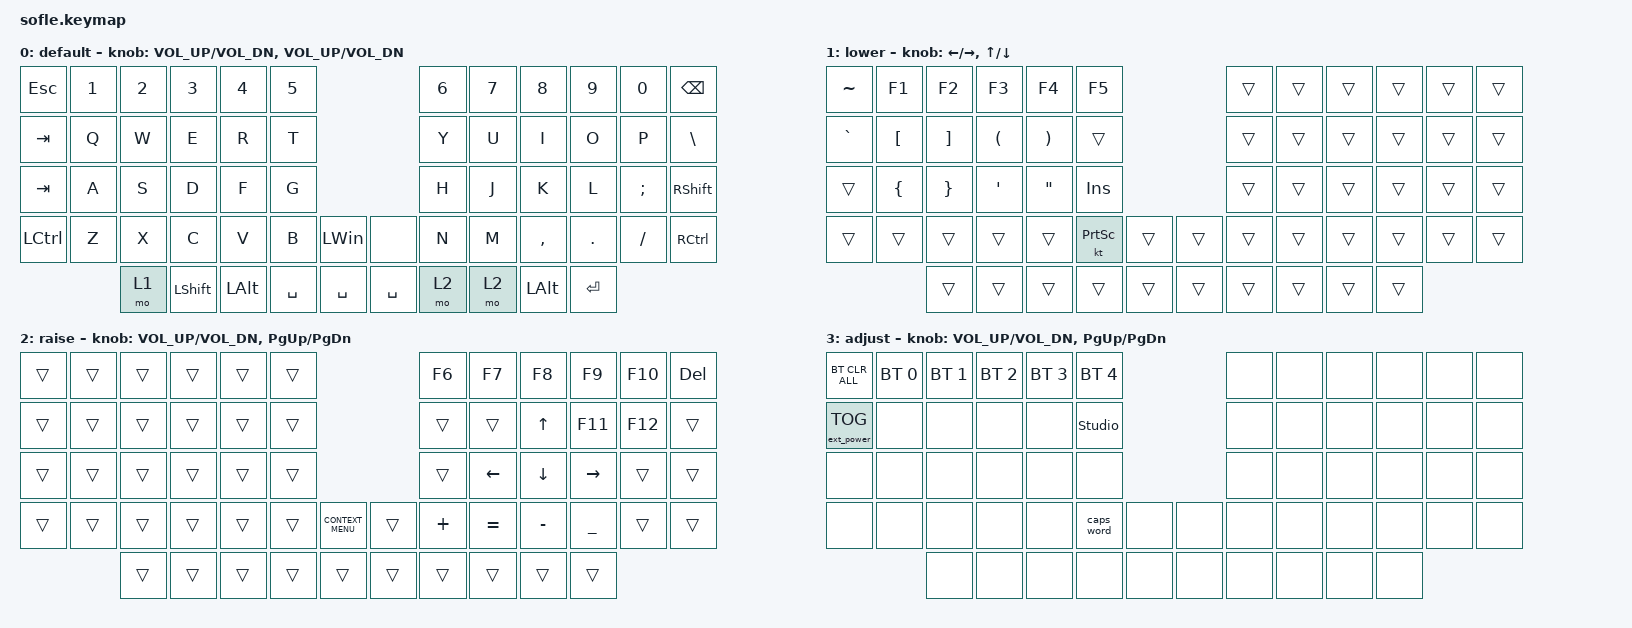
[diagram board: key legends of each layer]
/*
 * Copyright (c) 2020 The ZMK Contributors
 *
 * SPDX-License-Identifier: MIT
 */

#include <behaviors.dtsi>
#include <dt-bindings/zmk/bt.h>
#include <dt-bindings/zmk/ext_power.h>
#include <dt-bindings/zmk/keys.h>

#define BASE 0
#define LOWER 1
#define RAISE 2
#define ADJUST 3

/ {
    // Activate ADJUST layer by pressing raise and lower

    conditional_layers {
        compatible = "zmk,conditional-layers";

        adjust_layer {
            if-layers = <LOWER RAISE>;
            then-layer = <ADJUST>;
        };
    };

    combos {
        compatible = "zmk,combos";

        backspace {
            bindings = <&kp BACKSPACE>;
            key-positions = <32 31>;
        };

        delete {
            bindings = <&kp DELETE>;
            key-positions = <27 33>;
        };

        esc {
            bindings = <&kp ESCAPE>;
            key-positions = <25 41>;
        };

        layer3 {
            bindings = <&mo 3>;
            key-positions = <50 57>;
        };
    };

    keymap {
        compatible = "zmk,keymap";

        // swap C_MUTE & EQUAL for encoder on the right

        default_layer {
            display-name = "default";

            // ------------------------------------------------------------------------------------------------------------
            // |   `   |  1  |  2  |  3   |  4   |  5   |                   |  6   |  7    |  8    |  9   |   0   |       |
            // |  ESC  |  Q  |  W  |  E   |  R   |  T   |                   |  Y   |  U    |  I    |  O   |   P   | BKSPC |
            // |  TAB  |  A  |  S  |  D   |  F   |  G   |                   |  H   |  J    |  K    |  L   |   ;   |   '   |
            // | SHIFT |  Z  |  X  |  C   |  V   |  B   |  MUTE  |  |       |  N   |  M    |  ,    |  .   |   /   | SHIFT |
            //               | GUI | ALT  | CTRL | LOWER|  ENTER |  | SPACE | RAISE| CTRL  | ALT   | GUI  |

            bindings = <
&kp ESC           &kp N1  &kp N2  &kp N3     &kp N4    &kp N5                             &kp N6  &kp N7  &kp N8     &kp N9     &kp N0    &kp BSPC
&kp TAB           &kp Q   &kp W   &kp E      &kp R     &kp T                              &kp Y   &kp U   &kp I      &kp O      &kp P     &kp BACKSLASH
&kp TAB           &kp A   &kp S   &kp D      &kp F     &kp G                              &kp H   &kp J   &kp K      &kp L      &kp SEMI  &kp RSHFT
&kp LEFT_CONTROL  &kp Z   &kp X   &kp C      &kp V     &kp B      &kp LWIN     &none      &kp N   &kp M   &kp COMMA  &kp DOT    &kp FSLH  &kp RCTRL
                          &mo 1   &kp LSHFT  &kp LALT  &kp SPACE  &kp SPACE    &kp SPACE  &mo 2   &mo 2   &kp LALT   &kp ENTER
            >;

            sensor-bindings = <&inc_dec_kp C_VOL_UP C_VOL_DN &inc_dec_kp C_VOL_UP C_VOL_DN>;
        };

        lower_layer {
            display-name = "lower";

            // TODO: Some binds are waiting for shifted keycode support.
            // ------------------------------------------------------------------------------------------------------------
            // |       |  F1 |  F2 |  F3  |  F4  |  F5  |                   |  F6  |  F7   |  F8   |  F9  |  F10  |  F11  |
            // |   `   |  1  |  2  |  3   |  4   |  5   |                   |  6   |  7    |  8    |  9   |   0   |  F12  |
            // |       |  !  |  @  |  #   |  $   |  %   |                   |  ^   |  &    |  *    |  (   |   )   |   |   |
            // |       |  =  |  -  |  +   |  {   |  }   |        |  |       |  [   |  ]    |  ;    |  :   |   \   |       |
            //               |     |      |      |      |        |  |       |      |       |       |      |

            bindings = <
&kp TILDE  &kp F1            &kp F2             &kp F3                &kp F4                 &kp F5                             &trans  &trans  &trans  &trans  &trans  &trans
&kp GRAVE  &kp LEFT_BRACKET  &kp RIGHT_BRACKET  &kp LEFT_PARENTHESIS  &kp RIGHT_PARENTHESIS  &trans                             &trans  &trans  &trans  &trans  &trans  &trans
&trans     &kp LEFT_BRACE    &kp RIGHT_BRACE    &kp APOS              &kp DOUBLE_QUOTES      &kp INSERT                         &trans  &trans  &trans  &trans  &trans  &trans
&trans     &trans            &trans             &trans                &trans                 &kt PRINTSCREEN  &trans    &trans  &trans  &trans  &trans  &trans  &trans  &trans
                             &trans             &trans                &trans                 &trans           &trans    &trans  &trans  &trans  &trans  &trans
            >;

            sensor-bindings =
                <&inc_dec_kp LEFT_ARROW RIGHT_ARROW>,
                <&inc_dec_kp UP_ARROW DOWN_ARROW>;
        };

        raise_layer {
            display-name = "raise";

            // ------------------------------------------------------------------------------------------------------------
            // | BTCLR | BT1  | BT2  |  BT3  |  BT4  |  BT5 |                |      |      |       |      |       |       |
            // |       | INS  | PSCR | GUI   |       |      |                | PGUP |      |   ^   |      |       |       |
            // |       | ALT  | CTRL | SHIFT |       | CAPS |                | PGDN |   <- |   v   |  ->  |  DEL  | BKSPC |
            // |       | UNDO | CUT  | COPY  | PASTE |      |      |  |      |      |      |       |      |       |       |
            //                |      |       |       |      |      |  |      |      |      |       |      |

            bindings = <
&trans  &trans  &trans  &trans  &trans  &trans                                &kp F6    &kp F7          &kp F8          &kp F9     &kp F10  &kp DELETE
&trans  &trans  &trans  &trans  &trans  &trans                                &trans    &trans          &kp UP_ARROW    &kp F11    &kp F12  &trans
&trans  &trans  &trans  &trans  &trans  &trans                                &trans    &kp LEFT_ARROW  &kp DOWN_ARROW  &kp RIGHT  &trans   &trans
&trans  &trans  &trans  &trans  &trans  &trans  &kp K_CONTEXT_MENU    &trans  &kp PLUS  &kp EQUAL       &kp MINUS       &kp UNDER  &trans   &trans
                &trans  &trans  &trans  &trans  &trans                &trans  &trans    &trans          &trans          &trans
            >;

            sensor-bindings = <&inc_dec_kp C_VOL_UP C_VOL_DN &inc_dec_kp PG_UP PG_DN>;
        };

        adjust_layer {
            // ----------------------------------------------------------------------------------------------------------------------------
            // | BTCLR  |  BT1    |  BT2    |   BT3   |   BT4   |   BT5   |                  |      |      |       |      |       |       |
            // | EXTPWR | RGB_HUD | RGB_HUI | RGB_SAD | RGB_SAI | RGB_EFF |                  |      |      |       |      |       |       |
            // |        | RGB_BRD | RGB_BRI |         |         |         |                  |      |      |       |      |       |       |
            // |        |         |         |         |         |         | RGB_TOG | |      |      |      |       |      |       |       |
            //                    |         |         |         |         |         | |      |      |      |       |      |

            display-name = "adjust";
            bindings = <
&bt BT_CLR_ALL     &bt BT_SEL 0  &bt BT_SEL 1  &bt BT_SEL 2  &bt BT_SEL 3  &bt BT_SEL 4                    &none  &none  &none  &none  &none  &none
&ext_power EP_TOG  &none         &none         &none         &none         &studio_unlock                  &none  &none  &none  &none  &none  &none
&none              &none         &none         &none         &none         &none                           &none  &none  &none  &none  &none  &none
&none              &none         &none         &none         &none         &caps_word      &none    &none  &none  &none  &none  &none  &none  &none
                                 &none         &none         &none         &none           &none    &none  &none  &none  &none  &none
            >;

            sensor-bindings = <&inc_dec_kp C_VOL_UP C_VOL_DN &inc_dec_kp PG_UP PG_DN>;
        };
    };
};
